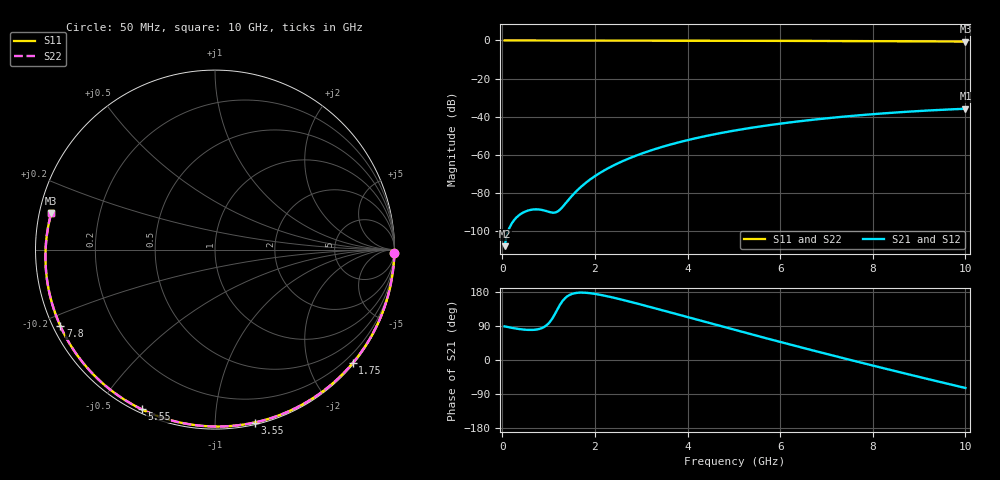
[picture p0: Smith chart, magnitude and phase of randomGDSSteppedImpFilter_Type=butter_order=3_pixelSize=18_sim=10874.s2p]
! freq	dB(S11)	phase(S11)	dB(S12)	phase(S12)
!  dB(S21)	phase(S21)	dB(S22)	phase(S22)
!S-par simulation data
#  GHz  S  DB  R 50
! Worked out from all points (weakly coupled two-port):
!   200 points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, 50 MHz to 10 GHz, reference 50 ohm
!   highest |S21| = -35.88 dB at 10 GHz (marker M1); lowest = -108.1 dB at 50 MHz (marker M2)
!   lowest |S11| = -0.6 dB at 10 GHz (marker M3), VSWR 29.69, Z = 1.7 + j5.52 ohm
!   |S11| at or under -10 dB: nowhere
!   |S22| runs from -0.6 to 0.0 dB; largest |S21 - S12| = 0
!   S11 on the Smith chart (normalised r, x): 50 MHz: open; 1.75 GHz: 0.03, -2.79; 3.55 GHz: 0.02, -1.26; 5.55 GHz: 0.02, -0.64; 7.8 GHz: 0.02, -0.23; 10 GHz: 0.03, +0.11
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0.05  -0.00 -1.1  -108.07 88.7  -108.07 88.7  -0.00 -1.1
0.45  -0.02 -10.3  -90.41 80.4  -90.41 80.4  -0.02 -10.3
0.8  -0.02 -18.3  -88.82 82.0  -88.82 82.0  -0.02 -18.3
1.55  -0.04 -35.1  -80.42 175.9  -80.42 175.9  -0.04 -35.1
1.6  -0.05 -36.2  -79.18 177.0  -79.18 177.0  -0.05 -36.2
1.75  -0.05 -39.5  -75.83 177.8  -75.83 177.8  -0.05 -39.5
2.05  -0.06 -46.0  -70.48 173.5  -70.48 173.5  -0.06 -46.0
2.25  -0.06 -50.3  -67.59 168.7  -67.59 168.7  -0.06 -50.3
2.45  -0.07 -54.5  -65.08 163.1  -65.08 163.1  -0.07 -54.5
2.9  -0.08 -63.9  -60.41 149.3  -60.41 149.3  -0.08 -63.9
3.4  -0.10 -74.1  -56.30 133.1  -56.30 133.1  -0.10 -74.1
3.55  -0.10 -77.1  -55.23 128.1  -55.23 128.1  -0.10 -77.1
4.3  -0.13 -91.7  -50.70 103.2  -50.70 103.2  -0.13 -91.7
5.05  -0.16 -105.7  -47.18 78.5  -47.18 78.5  -0.16 -105.7
5.55  -0.19 -114.7  -45.24 62.2  -45.24 62.2  -0.19 -114.7
6.1  -0.22 -124.4  -43.39 44.5  -43.39 44.5  -0.22 -124.5
6.7  -0.26 -134.9  -41.67 25.5  -41.67 25.5  -0.26 -134.9
7.25  -0.30 -144.3  -40.30 8.3  -40.30 8.3  -0.30 -144.4
7.8  -0.35 -153.7  -39.12 -8.6  -39.12 -8.6  -0.35 -153.8
8.35  -0.40 -163.2  -38.09 -25.2  -38.09 -25.2  -0.40 -163.3
9.2  -0.49 -178.1  -36.79 -50.6  -36.79 -50.6  -0.49 -178.1
10  -0.59 167.4  -35.88 -73.8  -35.88 -73.8  -0.59 167.3
